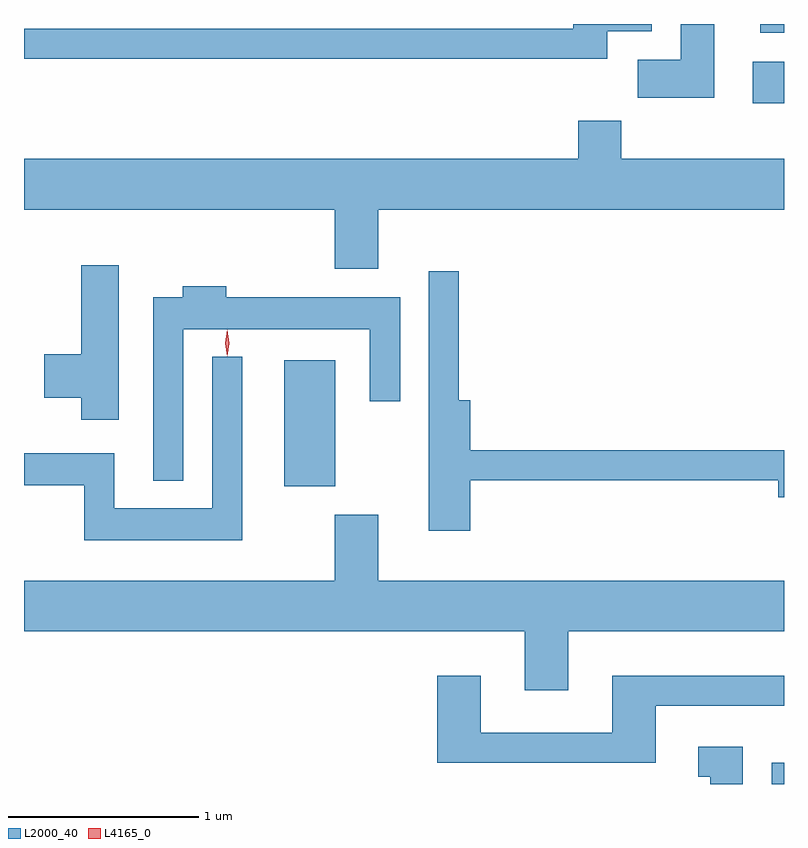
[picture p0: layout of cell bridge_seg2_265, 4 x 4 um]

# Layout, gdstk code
import gdstk
lib = gdstk.Library(unit=1e-6, precision=1e-09)
def R(c, l, rs):  # rectangles x0, y0, x1, y1
    for r in rs: c.add(gdstk.rectangle(r[:2], r[2:], *l))
def P(c, l, *ps):  # polygons
    for p in ps: c.add(gdstk.Polygon(p, *l))
L2000_40 = (2000, 40)
L4165_0 = (4165, 0)

bridge_seg2_265 = lib.new_cell('bridge_seg2_265')
R(bridge_seg2_265, L2000_40, [(560.811,1069.713,560.875,1069.824), (558.246,1071.281,558.514,1071.944), (560.711,1073.296,560.875,1073.514), (560.751,1073.666,560.875,1073.713)])
P(bridge_seg2_265, L2000_40, [(560.509,1073.713),(560.331,1073.713),(560.331,1073.524),(560.106,1073.524),(560.106,1073.326),(560.509,1073.326)],
  [(559.944,1073.676),(560.179,1073.676),(560.179,1073.713),(559.766,1073.713),(559.766,1073.689),(556.875,1073.689),(556.875,1073.531),(559.944,1073.531)],
  [(558.739,1072.736),(560.875,1072.736),(560.875,1073.004),(560.019,1073.004),(560.019,1073.204),(559.791,1073.204),(559.791,1073.004),(556.875,1073.004),(556.875,1072.736),(558.511,1072.736),(558.511,1072.426),(558.739,1072.426)],
  [(557.374,1072.444),(557.176,1072.444),(557.176,1071.974),(556.981,1071.974),(556.981,1071.746),(557.176,1071.746),(557.176,1071.631),(557.374,1071.631)],
  [(559.224,1071.311),(560.846,1071.311),(560.846,1071.221),(560.875,1071.221),(560.875,1071.469),(559.224,1071.469),(559.224,1071.734),(559.164,1071.734),(559.164,1072.413),(559.006,1072.413),(559.006,1071.046),(559.224,1071.046)],
  [(557.714,1072.106),(558.696,1072.106),(558.696,1071.728),(558.854,1071.728),(558.854,1072.274),(557.939,1072.274),(557.939,1072.334),(557.711,1072.334),(557.711,1072.274),(557.556,1072.274),(557.556,1071.308),(557.714,1071.308)],
  [(558.024,1071.963),(557.866,1071.963),(557.866,1071.164),(557.349,1071.164),(557.349,1071.454),(556.875,1071.454),(556.875,1071.286),(557.191,1071.286),(557.191,1070.996),(558.024,1070.996)],
  [(559.739,1070.516),(560.875,1070.516),(560.875,1070.784),(558.739,1070.784),(558.739,1071.129),(558.511,1071.129),(558.511,1070.784),(556.875,1070.784),(556.875,1070.516),(559.511,1070.516),(559.511,1070.206),(559.739,1070.206)],
  [(560.199,1070.126),(560.875,1070.126),(560.875,1070.284),(559.971,1070.284),(559.971,1069.984),(559.279,1069.984),(559.279,1070.284),(559.051,1070.284),(559.051,1069.826),(560.199,1069.826)],
  [(560.659,1069.909),(560.423,1069.909),(560.423,1069.751),(560.486,1069.751),(560.486,1069.713),(560.659,1069.713)])
P(bridge_seg2_265, L4165_0, [(557.944,1071.964),(557.944,1071.964),(557.934,1072.033),(557.944,1072.103),(557.944,1072.103),(557.945,1072.103),(557.954,1072.033),(557.945,1071.964)])

lib.write_gds('bridge_seg2_265.gds')
